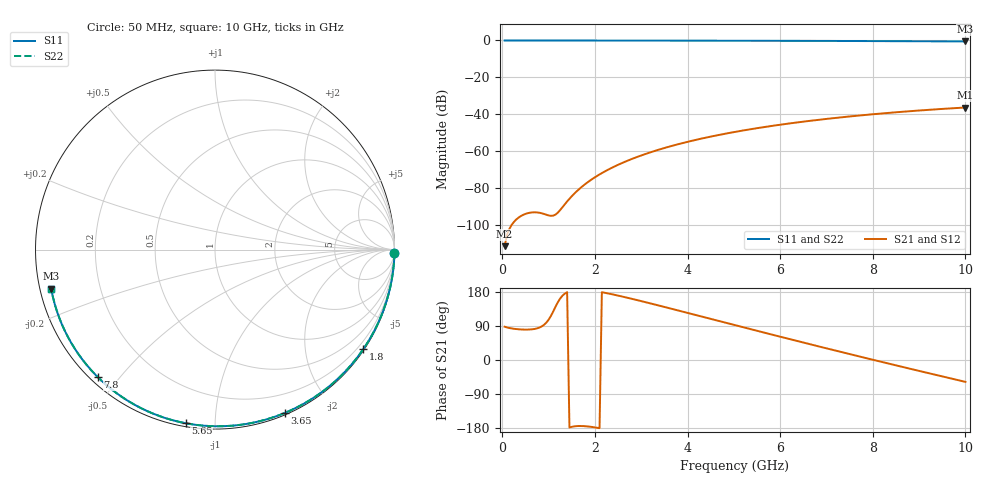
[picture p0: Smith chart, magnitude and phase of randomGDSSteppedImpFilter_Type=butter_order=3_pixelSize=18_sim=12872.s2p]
! freq	dB(S11)	phase(S11)	dB(S12)	phase(S12)
!  dB(S21)	phase(S21)	dB(S22)	phase(S22)
!S-par simulation data
#  GHz  S  DB  R 50
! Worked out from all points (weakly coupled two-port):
!   200 points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, 50 MHz to 10 GHz, reference 50 ohm
!   highest |S21| = -36.38 dB at 10 GHz (marker M1); lowest = -111.6 dB at 50 MHz (marker M2)
!   lowest |S11| = -0.6 dB at 10 GHz (marker M3), VSWR 31.43, Z = 1.61 - j5.86 ohm
!   |S11| at or under -10 dB: nowhere
!   |S22| runs from -0.6 to 0.0 dB; largest |S21 - S12| = 0
!   S11 on the Smith chart (normalised r, x): 50 MHz: open; 1.8 GHz: 0.03, -3.28; 3.65 GHz: 0.02, -1.52; 5.65 GHz: 0.02, -0.84; 7.8 GHz: 0.02, -0.44; 10 GHz: 0.03, -0.12
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0.05  -0.00 -1.0  -111.61 87.9  -111.61 87.9  -0.00 -1.0
0.45  -0.01 -8.6  -94.63 80.3  -94.63 80.3  -0.01 -8.6
0.85  -0.02 -16.2  -93.76 88.5  -93.76 88.5  -0.02 -16.2
1.65  -0.04 -31.1  -80.84 -174.2  -80.84 -174.2  -0.04 -31.1
1.7  -0.04 -32.1  -79.75 -174.2  -79.75 -174.2  -0.04 -32.1
1.75  -0.04 -33.0  -78.72 -174.4  -78.72 -174.4  -0.04 -33.0
1.8  -0.04 -33.9  -77.74 -174.8  -77.74 -174.8  -0.04 -33.9
2.1  -0.05 -39.4  -72.69 -179.9  -72.69 -179.9  -0.05 -39.4
2.3  -0.05 -43.0  -69.91 175.3  -69.91 175.3  -0.05 -43.0
2.5  -0.06 -46.6  -67.47 170.0  -67.47 170.0  -0.06 -46.6
2.9  -0.07 -53.8  -63.31 158.4  -63.31 158.4  -0.07 -53.8
3.4  -0.08 -62.5  -59.10 143.2  -59.10 143.2  -0.08 -62.5
3.65  -0.09 -66.8  -57.28 135.4  -57.28 135.4  -0.09 -66.8
4.3  -0.11 -77.8  -53.25 114.9  -53.25 114.9  -0.11 -77.8
5.05  -0.14 -90.1  -49.50 91.2  -49.50 91.2  -0.14 -90.0
5.65  -0.17 -99.6  -47.01 72.4  -47.01 72.4  -0.17 -99.6
6.15  -0.19 -107.4  -45.20 56.8  -45.20 56.8  -0.19 -107.4
6.7  -0.23 -115.9  -43.44 39.9  -43.44 39.9  -0.23 -115.9
7.8  -0.31 -132.6  -40.51 6.6  -40.51 6.6  -0.31 -132.6
8.35  -0.36 -141.0  -39.28 -9.7  -39.28 -9.7  -0.36 -141.0
9.2  -0.45 -154.0  -37.65 -34.6  -37.65 -34.6  -0.45 -154.0
10  -0.55 -166.6  -36.38 -57.7  -36.38 -57.7  -0.55 -166.6
